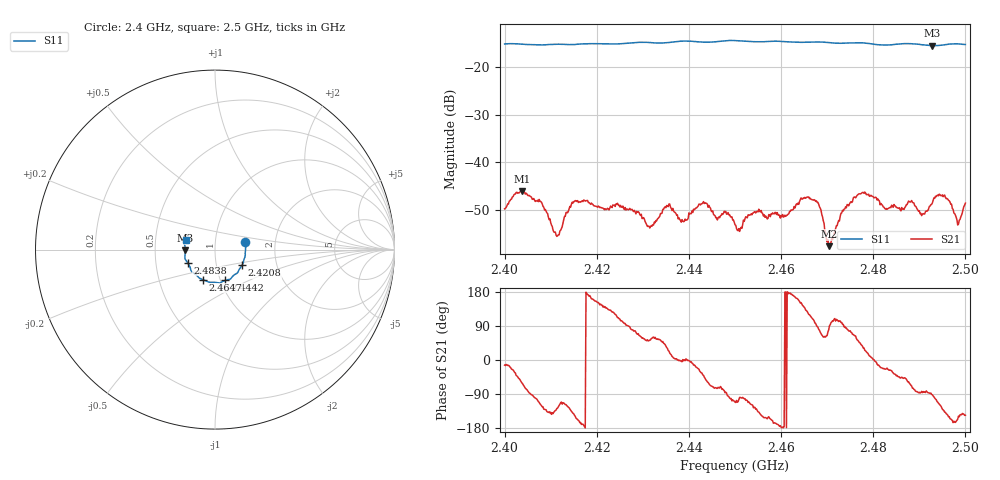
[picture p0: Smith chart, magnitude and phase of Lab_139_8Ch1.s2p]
# Hz S RI R 50
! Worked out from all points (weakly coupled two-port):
!   601 points, 2.4 GHz to 2.5 GHz, reference 50 ohm
!   highest |S21| = -46.02 dB at 2.4038 GHz (marker M1); lowest = -57.5 dB at 2.4705 GHz (marker M2)
!   lowest |S11| = -15.6 dB at 2.4928 GHz (marker M3), VSWR 1.40, Z = 35.8 - j0.36 ohm
!   |S11| at or under -10 dB: start of sweep to end of sweep
!   S12 and S22 are empty: the file has one direction only
!   S11 on the Smith chart (normalised r, x): 2.4 GHz: 1.40, +0.12; 2.4208 GHz: 1.33, -0.24; 2.4442 GHz: 1.05, -0.37; 2.4647 GHz: 0.83, -0.29; 2.4838 GHz: 0.73, -0.11; 2.5 GHz: 0.72, +0.08
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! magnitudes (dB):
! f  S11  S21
! 2.4 GHz  -15.3  -49.7
! 2.4038 GHz  -15.3  -46.0
! 2.408 GHz  -15.4  -48.3
! 2.4113 GHz  -15.3  -55.4
! 2.4167 GHz  -15.2  -48.1
! 2.4208 GHz  -15.2  -49.4
! 2.4333 GHz  -15.0  -51.7
! 2.4442 GHz  -14.9  -49.4
! 2.45 GHz  -14.5  -53.0
! 2.461 GHz  -14.8  -51.3
! 2.4647 GHz  -14.9  -47.7
! 2.4667 GHz  -14.8  -47.7
! 2.4682 GHz  -14.8  -48.7
! 2.4705 GHz  -15.0  -57.5
! 2.477 GHz  -15.0  -46.5
! 2.4833 GHz  -15.5  -49.6
! 2.4838 GHz  -15.4  -49.4
! 2.4907 GHz  -15.4  -50.8
! 2.4928 GHz  -15.6  -48.5
! 2.4955 GHz  -15.4  -46.8
! 2.4985 GHz  -15.2  -52.9
! 2.5 GHz  -15.3  -48.5
